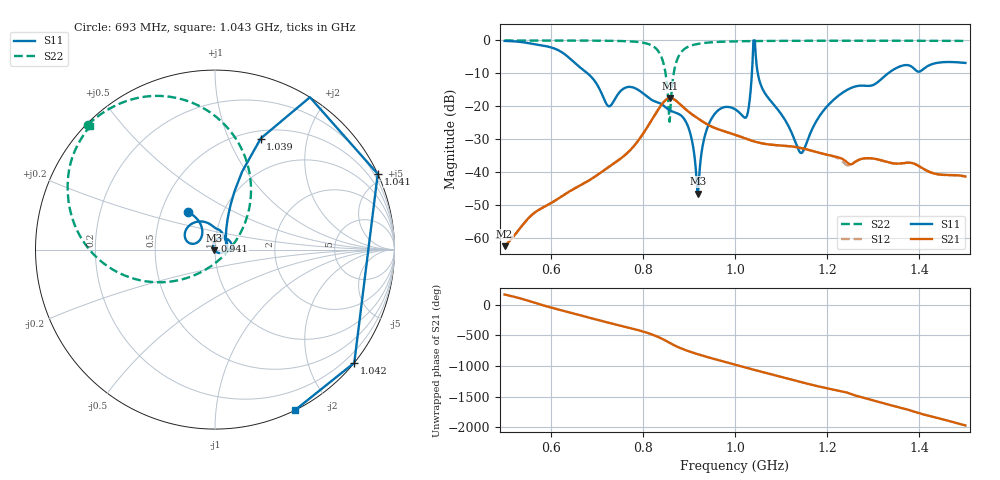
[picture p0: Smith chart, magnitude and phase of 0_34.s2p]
! TOUCHSTONE file generated by CST MICROWAVE STUDIO
! Date and time: Sat Oct 24 11:16:48 2020
! Project name: Scenario_1_Circular_Tissue_in_Line.cst
! Parameters = {L_HA=400; MT=2.54; Rad_Dielectric=30; Rad_Lower=7.3; Rad_Upper=30; a_HA=580; a_WG=246; b_HA=500; b_WG=121; c_HA=0; c_WG=187; d_feed=85; dx1=744.56; h_feed=15; h_lower=18; h_upper=40}
! Header version: 2018
! Port assignment regex: !\s*Touchstone port\s*([0-9]+)\s*=\s*(CST MWS port|CST DS port)\s*([0-9]+|Zmin|Zmax)\s*\(\"(.*)\"\)(\s*mode\s*([0-9]+))?.*
! Touchstone port assignment:
! Touchstone port 1 = CST MWS port 1 ("")
! Touchstone port 2 = CST MWS port 2 ("")
# GHz S DB R 50
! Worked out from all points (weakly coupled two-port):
!   1003 points, 500 MHz to 1.5 GHz, reference 50 ohm
!   highest |S21| = -17.52 dB at 859 MHz (marker M1); lowest = -62.5 dB at 500 MHz (marker M2)
!   lowest |S11| = -46.5 dB at 919 MHz (marker M3), VSWR 1.01, Z = 49.6 - j0.289 ohm
!   |S11| at or under -10 dB: 679.9 MHz to 1.037 GHz (356.8 MHz wide, 41.6 % of centre); 1.049 GHz to 1.332 GHz (282.8 MHz wide, 23.7 % of centre)
!   |S22| runs from -24.7 to 0.0 dB; largest |S21 - S12| = 0.0017
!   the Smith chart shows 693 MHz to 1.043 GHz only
!   S11 on the Smith chart (normalised r, x): 693 MHz: 0.69, +0.30; 941 MHz: 1.00, +0.10; 1.039 GHz: 0.59, +1.32; 1.041 GHz: -0.00, +4.52; 1.042 GHz: -0.00, -2.82; 1.043 GHz: 0.00, -1.61
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0.5  -0.14 -122.3  -62.54 165.0  -62.54 165.0  -0.01 151.1
0.593  -1.84 -171.9  -50.06 -31.1  -50.06 -31.1  -0.02 144.6
0.667  -8.56 139.1  -43.85 178.8  -43.85 178.8  -0.04 138.3
0.693  -11.86 125.6  -41.69 129.1  -41.69 129.1  -0.06 135.6
0.726  -20.01 143.9  -38.45 65.1  -38.45 65.1  -0.10 131.4
0.834  -18.89 80.4  -20.86 -168.9  -20.86 -168.9  -3.35 83.9
0.859  -21.25 53.5  -17.52 94.2  -17.52 94.2  -23.29 -80.8
0.873  -22.05 37.0  -18.43 39.7  -18.43 39.7  -6.42 -160.0
0.897  -25.79 -13.1  -21.42 -32.4  -21.42 -32.4  -2.00 170.0
0.919  -46.53 -141.9  -23.66 -87.0  -23.66 -87.0  -1.06 158.1
0.941  -26.19 88.3  -25.59 -136.3  -25.59 -136.3  -0.65 151.1
1  -20.91 -2.9  -28.67 100.5  -28.67 100.5  -0.28 140.2
1.026  -22.87 31.1  -29.99 47.4  -29.99 47.4  -0.21 137.0
1.039  -3.49 67.6  -30.59 21.9  -30.59 21.9  -0.19 135.5
1.041  0.00 24.9  -30.68 18.0  -30.68 18.1  -0.18 135.3
1.042  0.00 -39.1  -30.72 16.2  -30.72 16.2  -0.18 135.2
1.043  -0.00 -63.7  -30.75 14.3  -30.76 14.3  -0.18 135.1
1.047  -7.64 -78.1  -30.90 6.6  -30.91 6.6  -0.17 134.7
1.14  -33.84 -30.7  -32.61 -176.0  -32.61 -176.3  -0.11 126.3
1.167  -27.10 42.4  -33.55 132.7  -33.55 132.4  -0.10 124.1
1.334  -9.81 15.7  -37.11 168.9  -37.11 168.9  -0.09 111.4
1.5  -6.83 -46.1  -41.36 -169.4  -41.36 -169.4  -0.14 97.8
